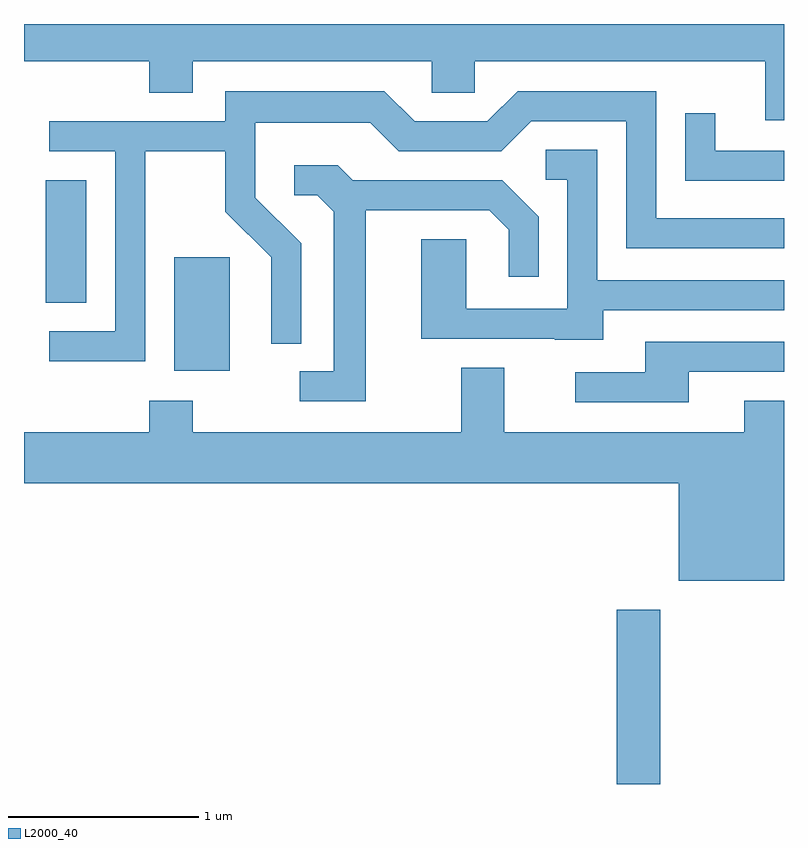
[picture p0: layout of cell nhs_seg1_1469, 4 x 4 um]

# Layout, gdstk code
import gdstk
lib = gdstk.Library(unit=1e-6, precision=1e-09)
def R(c, l, rs):  # rectangles x0, y0, x1, y1
    for r in rs: c.add(gdstk.rectangle(r[:2], r[2:], *l))
def P(c, l, *ps):  # polygons
    for p in ps: c.add(gdstk.Polygon(p, *l))
L2000_40 = (2000, 40)

nhs_seg1_1469 = lib.new_cell('nhs_seg1_1469')
R(nhs_seg1_1469, L2000_40, [(232.731,955.712,232.959,956.629), (230.401,957.886,230.694,958.484), (229.726,958.246,229.939,958.889)])
P(nhs_seg1_1469, L2000_40, [(233.611,959.712),(229.611,959.712),(229.611,959.516),(230.271,959.516),(230.271,959.351),(230.499,959.351),(230.499,959.516),(231.756,959.516),(231.756,959.351),(231.984,959.351),(231.984,959.516),(233.511,959.516),(233.511,959.206),(233.611,959.206)],
  [(230.249,959.041),(230.671,959.041),(230.671,958.724),(230.911,958.484),(230.911,958.028),(231.069,958.028),(231.069,958.557),(230.829,958.797),(230.829,959.191),(231.434,959.191),(231.584,959.041),(232.122,959.041),(232.282,959.201),(232.781,959.201),(232.781,958.531),(233.611,958.531),(233.611,958.689),(232.939,958.689),(232.939,959.359),(232.209,959.359),(232.049,959.199),(231.667,959.199),(231.507,959.359),(230.671,959.359),(230.671,959.199),(229.743,959.199),(229.743,959.041),(230.091,959.041),(230.091,958.094),(229.743,958.094),(229.743,957.936),(230.249,957.936)],
  [(233.611,959.044),(233.249,959.044),(233.249,959.243),(233.091,959.243),(233.091,958.886),(233.611,958.886)],
  [(232.659,958.206),(233.611,958.206),(233.611,958.364),(232.629,958.364),(232.629,959.049),(232.358,959.049),(232.358,958.891),(232.471,958.891),(232.471,958.214),(231.939,958.214),(231.939,958.579),(231.701,958.579),(231.701,958.056),(232.405,958.056),(232.405,958.051),(232.659,958.051)],
  [(231.409,958.731),(232.059,958.731),(232.161,958.629),(232.161,958.383),(232.319,958.383),(232.319,958.697),(232.127,958.889),(231.342,958.889),(231.262,958.969),(231.033,958.969),(231.033,958.811),(231.154,958.811),(231.241,958.724),(231.241,957.884),(231.063,957.884),(231.063,957.726),(231.409,957.726)],
  [(233.109,957.881),(233.611,957.881),(233.611,958.039),(232.881,958.039),(232.881,957.879),(232.513,957.879),(232.513,957.721),(233.109,957.721)],
  [(233.611,957.729),(233.401,957.729),(233.401,957.564),(232.139,957.564),(232.139,957.904),(231.911,957.904),(231.911,957.564),(230.499,957.564),(230.499,957.729),(230.271,957.729),(230.271,957.564),(229.611,957.564),(229.611,957.296),(233.056,957.296),(233.056,956.781),(233.611,956.781)])

lib.write_gds('nhs_seg1_1469.gds')
